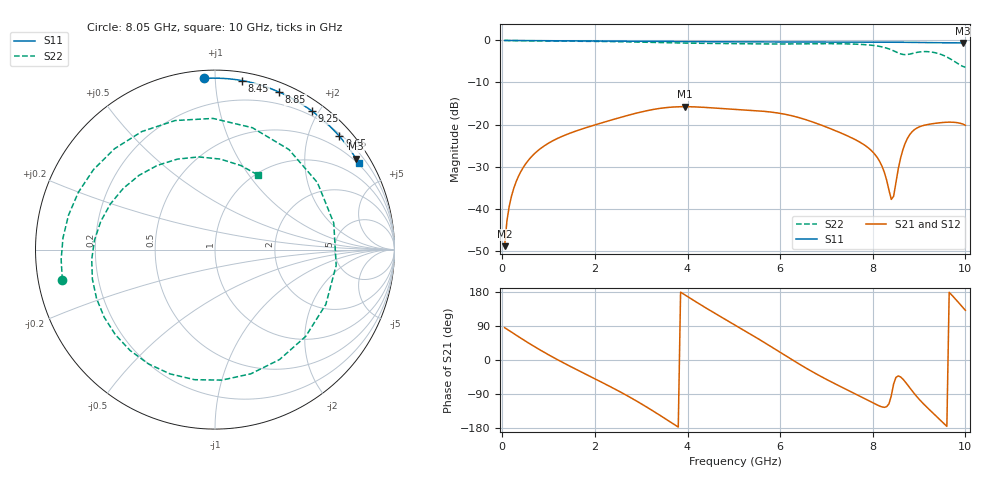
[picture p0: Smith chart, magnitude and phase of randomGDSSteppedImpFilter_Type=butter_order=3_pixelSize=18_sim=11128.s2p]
! freq	dB(S11)	phase(S11)	dB(S12)	phase(S12)
!  dB(S21)	phase(S21)	dB(S22)	phase(S22)
!S-par simulation data
#  GHz  S  DB  R 50
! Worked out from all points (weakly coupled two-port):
!   200 points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, 50 MHz to 10 GHz, reference 50 ohm
!   highest |S21| = -15.76 dB at 3.95 GHz (marker M1); lowest = -48.9 dB at 50 MHz (marker M2)
!   lowest |S11| = -0.6 dB at 9.95 GHz (marker M3), VSWR 29.91, Z = 20.7 + j168 ohm
!   |S11| at or under -10 dB: nowhere
!   |S22| runs from -6.4 to 0.0 dB; largest |S21 - S12| = 0
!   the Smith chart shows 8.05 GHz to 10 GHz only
!   S11 on the Smith chart (normalised r, x): 8.05 GHz: 0.04, +0.94; 8.45 GHz: 0.06, +1.17; 8.85 GHz: 0.09, +1.48; 9.25 GHz: 0.14, +1.91; 9.65 GHz: 0.25, +2.56; 10 GHz: 0.45, +3.52
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0.05  -0.00 -2.2  -48.94 85.3  -48.94 85.3  -0.00 -6.0
0.25  -0.02 -11.0  -35.10 69.4  -35.10 69.4  -0.04 -29.6
0.8  -0.06 -34.7  -25.93 27.7  -25.93 27.7  -0.11 -89.7
1.75  -0.12 -73.1  -20.96 -34.3  -20.96 -34.3  -0.20 -176.3
2.7  -0.20 -107.3  -17.86 -94.4  -17.86 -94.4  -0.33 97.3
3.4  -0.26 -130.0  -16.16 -145.6  -16.16 -145.6  -0.51 18.5
3.95  -0.30 -146.6  -15.76 171.3  -15.76 171.3  -0.63 -49.6
4.45  -0.31 -161.2  -15.98 133.5  -15.98 133.5  -0.69 -108.9
5.05  -0.33 -178.3  -16.41 90.4  -16.41 90.4  -0.76 -176.0
5.85  -0.35 159.1  -17.10 31.7  -17.10 31.7  -0.84 88.9
6.3  -0.35 146.3  -18.04 -2.4  -18.04 -2.4  -0.82 31.0
6.7  -0.36 134.6  -19.39 -31.3  -19.39 -31.3  -0.78 -18.3
7.4  -0.37 113.7  -22.44 -75.9  -22.44 -75.9  -0.80 -94.2
8.05  -0.39 93.6  -27.16 -115.9  -27.16 -115.9  -1.24 -168.8
8.35  -0.41 84.1  -35.64 -115.5  -35.64 -115.5  -2.01 134.9
8.45  -0.41 80.8  -37.08 -63.4  -37.08 -63.4  -2.47 107.2
8.65  -0.43 74.3  -26.00 -50.3  -26.00 -50.3  -3.32 33.2
8.85  -0.47 67.9  -21.70 -81.6  -21.70 -81.6  -3.11 -43.7
9.25  -0.52 55.1  -19.87 -134.2  -19.87 -134.2  -2.73 -139.4
9.65  -0.56 42.3  -19.43 178.6  -19.43 178.6  -4.23 146.2
9.95  -0.58 32.8  -19.90 137.9  -19.90 137.9  -6.19 72.9
10  -0.58 31.2  -20.18 131.1  -20.18 131.1  -6.38 59.9
